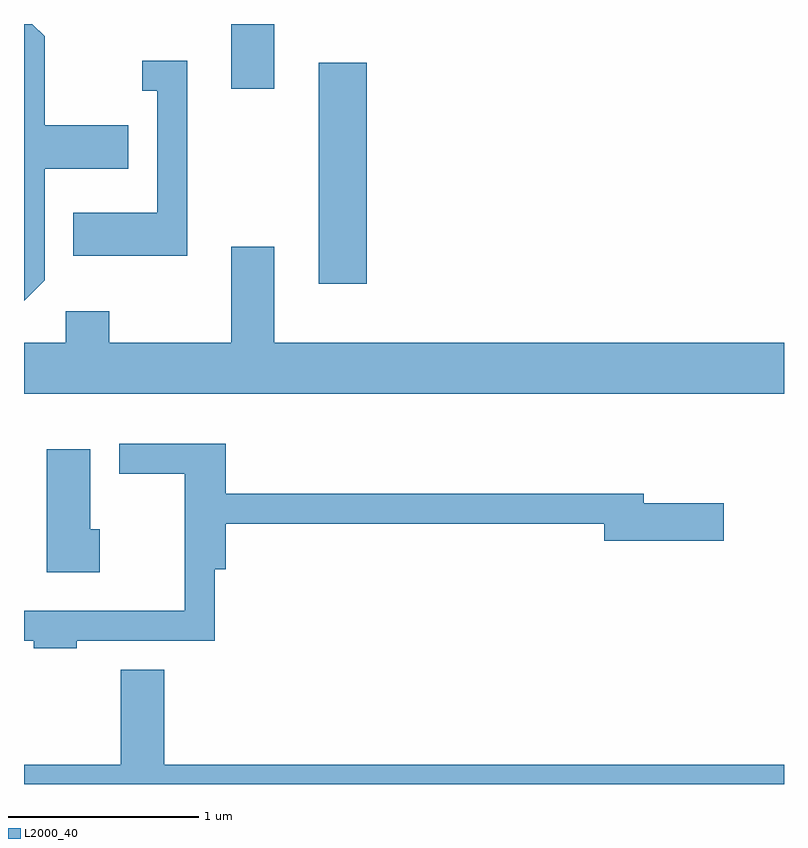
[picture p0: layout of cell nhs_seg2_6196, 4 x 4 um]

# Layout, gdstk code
import gdstk
lib = gdstk.Library(unit=1e-6, precision=1e-09)
def R(c, l, rs):  # rectangles x0, y0, x1, y1
    for r in rs: c.add(gdstk.rectangle(r[:2], r[2:], *l))
def P(c, l, *ps):  # polygons
    for p in ps: c.add(gdstk.Polygon(p, *l))
L2000_40 = (2000, 40)

nhs_seg2_6196 = lib.new_cell('nhs_seg2_6196')
R(nhs_seg2_6196, L2000_40, [(369.161,1064.436,369.414,1065.599), (368.701,1065.461,368.929,1065.802)])
P(nhs_seg2_6196, L2000_40, [(367.719,1064.454),(367.719,1065.041),(368.159,1065.041),(368.159,1065.269),(367.719,1065.269),(367.719,1065.737),(367.654,1065.802),(367.611,1065.802),(367.611,1064.345)],
  [(368.469,1065.609),(368.233,1065.609),(368.233,1065.451),(368.311,1065.451),(368.311,1064.809),(367.871,1064.809),(367.871,1064.581),(368.469,1064.581)],
  [(371.611,1064.124),(368.929,1064.124),(368.929,1064.629),(368.701,1064.629),(368.701,1064.124),(368.059,1064.124),(368.059,1064.289),(367.831,1064.289),(367.831,1064.124),(367.611,1064.124),(367.611,1063.856),(371.611,1063.856)],
  [(367.889,1062.556),(368.614,1062.556),(368.614,1062.931),(368.674,1062.931),(368.674,1063.171),(370.666,1063.171),(370.666,1063.081),(371.294,1063.081),(371.294,1063.279),(370.874,1063.279),(370.874,1063.329),(368.674,1063.329),(368.674,1063.594),(368.113,1063.594),(368.113,1063.436),(368.456,1063.436),(368.456,1062.714),(367.611,1062.714),(367.611,1062.556),(367.661,1062.556),(367.661,1062.516),(367.889,1062.516)],
  [(368.009,1063.144),(367.959,1063.144),(367.959,1063.564),(367.731,1063.564),(367.731,1062.916),(368.009,1062.916)],
  [(371.611,1061.904),(368.349,1061.904),(368.349,1062.404),(368.121,1062.404),(368.121,1061.904),(367.611,1061.904),(367.611,1061.802),(371.611,1061.802)])

lib.write_gds('nhs_seg2_6196.gds')
